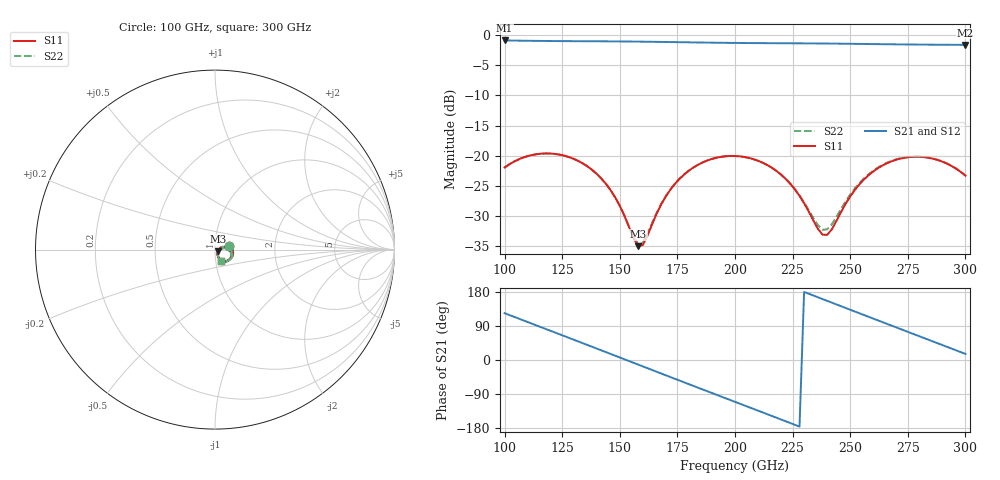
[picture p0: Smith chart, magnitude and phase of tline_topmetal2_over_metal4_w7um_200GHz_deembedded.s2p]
! Created with skrf 2.2.0 (http://scikit-rf.org).
# GHz S DB R 50.0
! Port[1] = P1
! Port[2] = P2
!freq dBS11 angS11 dBS21 angS21 dBS12 angS12 dBS22 angS22
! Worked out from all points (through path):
!   101 points, 100 GHz to 300 GHz, reference 50 ohm
!   highest |S21| = -0.90 dB at 100 GHz (marker M1); lowest = -1.6 dB at 300 GHz (marker M2)
!   group delay of S21, straight-line fit = 6.5 ps
!   lowest |S11| = -35.0 dB at 158 GHz (marker M3), VSWR 1.04, Z = 51.5 - j0.932 ohm
!   |S11| at or under -10 dB: start of sweep to end of sweep
!   |S22| runs from -34.7 to -19.6 dB; largest |S21 - S12| = 1.5e-13
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100  -21.96 15.9  -0.90 123.5  -0.90 123.5  -21.98 16.1
108  -20.31 1.3  -0.94 104.9  -0.94 104.9  -20.33 1.4
116  -19.66 -14.1  -0.98 86.2  -0.98 86.2  -19.67 -14.0
124  -19.83 -29.6  -1.01 67.6  -1.01 67.6  -19.85 -29.4
134  -21.29 -48.2  -1.03 44.2  -1.03 44.2  -21.31 -47.9
146  -25.71 -65.5  -1.05 16.0  -1.05 16.0  -25.72 -64.8
158  -35.00 -30.5  -1.09 -12.2  -1.09 -12.2  -34.66 -29.4
160  -34.80 -9.5  -1.10 -16.9  -1.10 -16.9  -34.42 -9.4
168  -28.06 21.7  -1.14 -35.7  -1.14 -35.7  -27.96 20.8
176  -23.81 15.6  -1.19 -54.5  -1.19 -54.5  -23.77 15.0
184  -21.49 3.1  -1.23 -73.2  -1.23 -73.2  -21.48 2.7
192  -20.33 -11.2  -1.28 -91.8  -1.28 -91.8  -20.33 -11.3
200  -20.05 -25.9  -1.31 -110.4  -1.31 -110.4  -20.06 -25.8
218  -22.53 -56.8  -1.36 -152.3  -1.36 -152.3  -22.53 -55.9
226  -25.60 -65.6  -1.37 -171.0  -1.37 -171.0  -25.54 -63.8
234  -30.73 -58.2  -1.39 170.2  -1.39 170.2  -30.34 -55.0
240  -33.12 -20.0  -1.41 156.1  -1.41 156.1  -32.21 -19.9
254  -24.75 9.6  -1.47 123.3  -1.47 123.3  -24.54 7.2
268  -20.93 -10.3  -1.54 90.6  -1.54 90.6  -20.85 -11.9
282  -20.24 -34.9  -1.59 58.0  -1.59 58.0  -20.20 -36.0
292  -21.32 -51.8  -1.62 34.8  -1.62 34.8  -21.28 -52.4
300  -23.31 -62.9  -1.63 16.1  -1.63 16.1  -23.27 -63.0
